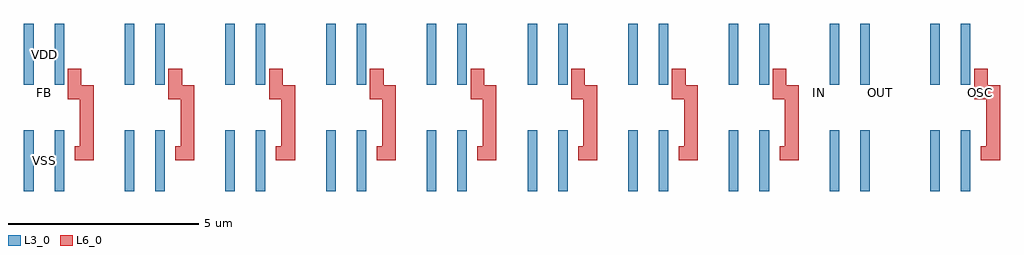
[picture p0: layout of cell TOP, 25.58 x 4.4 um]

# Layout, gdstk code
import gdstk
lib = gdstk.Library(unit=1e-6, precision=1e-09)
NWELL = (1, 0)
L2_0 = (2, 0)
L3_0 = (3, 0)
L4_0 = (4, 0)
L5_0 = (5, 0)
L6_0 = (6, 0)
L7_0 = (7, 0)
L8_0 = (8, 0)

trans = lib.new_cell('TRANS')
trans.add(gdstk.FlexPath([(0.65,-0.475),(-0.65,-0.475)], 0, ends="flush", simple_path=True, layer=2, datatype=0))  # L2_0
trans.add(gdstk.FlexPath([(0.65,0.475),(0.65,-0.475)], 0, ends="flush", simple_path=True, layer=2, datatype=0))  # L2_0
trans.add(gdstk.FlexPath([(-0.65,-0.475),(-0.65,0.475)], 0, ends="flush", simple_path=True, layer=2, datatype=0))  # L2_0
trans.add(gdstk.FlexPath([(-0.65,0.475),(0.65,0.475)], 0, ends="flush", simple_path=True, layer=2, datatype=0))  # L2_0
trans.add(gdstk.FlexPath([(-0.29,-0.31),(-0.51,-0.31)], 0, ends="flush", simple_path=True, layer=4, datatype=0))  # L4_0
trans.add(gdstk.FlexPath([(0.51,-0.31),(0.29,-0.31)], 0, ends="flush", simple_path=True, layer=4, datatype=0))  # L4_0
trans.add(gdstk.FlexPath([(-0.29,0.09),(-0.51,0.09)], 0, ends="flush", simple_path=True, layer=4, datatype=0))  # L4_0
trans.add(gdstk.FlexPath([(0.51,0.09),(0.29,0.09)], 0, ends="flush", simple_path=True, layer=4, datatype=0))  # L4_0
trans.add(gdstk.FlexPath([(-0.29,-0.09),(-0.29,-0.31)], 0, ends="flush", simple_path=True, layer=4, datatype=0))  # L4_0
trans.add(gdstk.FlexPath([(0.51,-0.09),(0.51,-0.31)], 0, ends="flush", simple_path=True, layer=4, datatype=0))  # L4_0
trans.add(gdstk.FlexPath([(-0.29,0.31),(-0.29,0.09)], 0, ends="flush", simple_path=True, layer=4, datatype=0))  # L4_0
trans.add(gdstk.FlexPath([(0.51,0.31),(0.51,0.09)], 0, ends="flush", simple_path=True, layer=4, datatype=0))  # L4_0
trans.add(gdstk.FlexPath([(-0.51,-0.31),(-0.51,-0.09)], 0, ends="flush", simple_path=True, layer=4, datatype=0))  # L4_0
trans.add(gdstk.FlexPath([(0.29,-0.31),(0.29,-0.09)], 0, ends="flush", simple_path=True, layer=4, datatype=0))  # L4_0
trans.add(gdstk.FlexPath([(-0.51,0.09),(-0.51,0.31)], 0, ends="flush", simple_path=True, layer=4, datatype=0))  # L4_0
trans.add(gdstk.FlexPath([(0.29,0.09),(0.29,0.31)], 0, ends="flush", simple_path=True, layer=4, datatype=0))  # L4_0
trans.add(gdstk.FlexPath([(-0.51,-0.09),(-0.29,-0.09)], 0, ends="flush", simple_path=True, layer=4, datatype=0))  # L4_0
trans.add(gdstk.FlexPath([(0.29,-0.09),(0.51,-0.09)], 0, ends="flush", simple_path=True, layer=4, datatype=0))  # L4_0
trans.add(gdstk.FlexPath([(-0.51,0.31),(-0.29,0.31)], 0, ends="flush", simple_path=True, layer=4, datatype=0))  # L4_0
trans.add(gdstk.FlexPath([(0.29,0.31),(0.51,0.31)], 0, ends="flush", simple_path=True, layer=4, datatype=0))  # L4_0
trans.add(gdstk.FlexPath([(-0.22,-0.38),(-0.58,-0.38)], 0, ends="flush", simple_path=True, layer=6, datatype=0))  # L6_0
trans.add(gdstk.FlexPath([(0.58,-0.38),(0.22,-0.38)], 0, ends="flush", simple_path=True, layer=6, datatype=0))  # L6_0
trans.add(gdstk.FlexPath([(-0.22,0.38),(-0.22,-0.38)], 0, ends="flush", simple_path=True, layer=6, datatype=0))  # L6_0
trans.add(gdstk.FlexPath([(0.58,0.38),(0.58,-0.38)], 0, ends="flush", simple_path=True, layer=6, datatype=0))  # L6_0
trans.add(gdstk.FlexPath([(-0.58,-0.38),(-0.58,0.38)], 0, ends="flush", simple_path=True, layer=6, datatype=0))  # L6_0
trans.add(gdstk.FlexPath([(0.22,-0.38),(0.22,0.38)], 0, ends="flush", simple_path=True, layer=6, datatype=0))  # L6_0
trans.add(gdstk.FlexPath([(-0.58,0.38),(-0.22,0.38)], 0, ends="flush", simple_path=True, layer=6, datatype=0))  # L6_0
trans.add(gdstk.FlexPath([(0.22,0.38),(0.58,0.38)], 0, ends="flush", simple_path=True, layer=6, datatype=0))  # L6_0
trans.add(gdstk.FlexPath([(0,-0.8),(0,0.8)], 0.25, ends="flush", simple_path=True, layer=3, datatype=0))  # L3_0

inv2 = lib.new_cell('INV2')
inv2.add(gdstk.FlexPath([(0.58,1.18),(0.58,0.82)], 0, ends="flush", simple_path=True, layer=6, datatype=0))  # L6_0
inv2.add(gdstk.FlexPath([(0.58,0.82),(-0.8,0.82)], 0, ends="flush", simple_path=True, layer=6, datatype=0))  # L6_0
inv2.add(gdstk.FlexPath([(-0.8,1.18),(0.58,1.18)], 0, ends="flush", simple_path=True, layer=6, datatype=0))  # L6_0
inv2.add(gdstk.FlexPath([(-0.98,-0.42),(-0.98,2.42)], 0, ends="flush", simple_path=True, layer=6, datatype=0))  # L6_0
inv2.add(gdstk.FlexPath([(-0.62,-0.42),(-0.98,-0.42)], 0, ends="flush", simple_path=True, layer=6, datatype=0))  # L6_0
inv2.add(gdstk.FlexPath([(0.8,0.2),(1.12,0.2),(1.12,1.8),(0.8,1.8),(0.8,2.42)], 0.36, ends="flush", simple_path=True, layer=6, datatype=0))  # L6_0
inv2.add(gdstk.FlexPath([(-0.98,2.42),(-0.62,2.42)], 0, ends="flush", simple_path=True, layer=6, datatype=0))  # L6_0
inv2.add(gdstk.FlexPath([(-0.62,2.42),(-0.62,-0.42)], 0, ends="flush", simple_path=True, layer=6, datatype=0))  # L6_0
inv2.add(gdstk.FlexPath([(-0.8,0.82),(-0.8,1.18)], 0, ends="flush", simple_path=True, layer=6, datatype=0))  # L6_0
inv2.add(gdstk.FlexPath([(-0.275,-0.25),(-0.525,-0.25)], 0, ends="flush", simple_path=True, layer=3, datatype=0))  # L3_0
inv2.add(gdstk.FlexPath([(0.525,-0.25),(0.275,-0.25)], 0, ends="flush", simple_path=True, layer=3, datatype=0))  # L3_0
inv2.add(gdstk.FlexPath([(-0.275,2.25),(-0.275,-0.25)], 0, ends="flush", simple_path=True, layer=3, datatype=0))  # L3_0
inv2.add(gdstk.FlexPath([(0.525,2.25),(0.525,-0.25)], 0, ends="flush", simple_path=True, layer=3, datatype=0))  # L3_0
inv2.add(gdstk.FlexPath([(-0.525,-0.25),(-0.525,2.25)], 0, ends="flush", simple_path=True, layer=3, datatype=0))  # L3_0
inv2.add(gdstk.FlexPath([(0.275,-0.25),(0.275,2.25)], 0, ends="flush", simple_path=True, layer=3, datatype=0))  # L3_0
inv2.add(gdstk.FlexPath([(0.22,1.18),(0.58,1.18)], 0, ends="flush", simple_path=True, layer=3, datatype=0))  # L3_0
inv2.add(gdstk.FlexPath([(-0.525,2.25),(-0.275,2.25)], 0, ends="flush", simple_path=True, layer=3, datatype=0))  # L3_0
inv2.add(gdstk.FlexPath([(0.275,2.25),(0.525,2.25)], 0, ends="flush", simple_path=True, layer=3, datatype=0))  # L3_0
inv2.add(gdstk.FlexPath([(0.22,0.82),(0.22,1.18)], 0, ends="flush", simple_path=True, layer=3, datatype=0))  # L3_0
inv2.add(gdstk.FlexPath([(-1.7,1.62),(-1.7,1.98)], 0, ends="flush", simple_path=True, layer=3, datatype=0))  # L3_0
inv2.add(gdstk.FlexPath([(0.58,1.18),(0.58,0.82)], 0, ends="flush", simple_path=True, layer=3, datatype=0))  # L3_0
inv2.add(gdstk.FlexPath([(-0.4,1.98),(-0.4,1.62)], 0, ends="flush", simple_path=True, layer=3, datatype=0))  # L3_0
inv2.add(gdstk.FlexPath([(0.58,0.82),(0.22,0.82)], 0, ends="flush", simple_path=True, layer=3, datatype=0))  # L3_0
inv2.add(gdstk.FlexPath([(-1.7,1.98),(-0.4,1.98)], 0, ends="flush", simple_path=True, layer=3, datatype=0))  # L3_0
inv2.add(gdstk.FlexPath([(-0.4,1.62),(-1.7,1.62)], 0, ends="flush", simple_path=True, layer=3, datatype=0))  # L3_0
inv2.add(gdstk.FlexPath([(1.4,-0.45),(-1.4,-0.45)], 0, ends="flush", simple_path=True, layer=8, datatype=0))  # L8_0
inv2.add(gdstk.FlexPath([(1.4,2.35),(-1.4,2.35)], 0, ends="flush", simple_path=True, layer=8, datatype=0))  # L8_0
inv2.add(gdstk.FlexPath([(1.4,0.45),(1.4,-0.45)], 0, ends="flush", simple_path=True, layer=8, datatype=0))  # L8_0
inv2.add(gdstk.FlexPath([(1.4,3.25),(1.4,2.35)], 0, ends="flush", simple_path=True, layer=8, datatype=0))  # L8_0
inv2.add(gdstk.FlexPath([(-1.4,-0.45),(-1.4,0.45)], 0, ends="flush", simple_path=True, layer=8, datatype=0))  # L8_0
inv2.add(gdstk.FlexPath([(-1.4,2.35),(-1.4,3.25)], 0, ends="flush", simple_path=True, layer=8, datatype=0))  # L8_0
inv2.add(gdstk.FlexPath([(-1.4,0.45),(1.4,0.45)], 0, ends="flush", simple_path=True, layer=8, datatype=0))  # L8_0
inv2.add(gdstk.FlexPath([(-1.4,3.25),(1.4,3.25)], 0, ends="flush", simple_path=True, layer=8, datatype=0))  # L8_0
inv2.add(gdstk.FlexPath([(1.4,1.8),(-1.4,1.8)], 0, ends="flush", simple_path=True, layer=1, datatype=0))  # NWELL
inv2.add(gdstk.FlexPath([(1.4,3.8),(1.4,1.8)], 0, ends="flush", simple_path=True, layer=1, datatype=0))  # NWELL
inv2.add(gdstk.FlexPath([(-1.4,1.8),(-1.4,3.8)], 0, ends="flush", simple_path=True, layer=1, datatype=0))  # NWELL
inv2.add(gdstk.FlexPath([(-1.4,3.8),(1.4,3.8)], 0, ends="flush", simple_path=True, layer=1, datatype=0))  # NWELL
inv2.add(gdstk.FlexPath([(0.51,0.89),(0.29,0.89)], 0, ends="flush", simple_path=True, layer=5, datatype=0))  # L5_0
inv2.add(gdstk.FlexPath([(-1.41,1.69),(-1.63,1.69)], 0, ends="flush", simple_path=True, layer=5, datatype=0))  # L5_0
inv2.add(gdstk.FlexPath([(0.51,1.11),(0.51,0.89)], 0, ends="flush", simple_path=True, layer=5, datatype=0))  # L5_0
inv2.add(gdstk.FlexPath([(-1.41,1.91),(-1.41,1.69)], 0, ends="flush", simple_path=True, layer=5, datatype=0))  # L5_0
inv2.add(gdstk.FlexPath([(0.29,0.89),(0.29,1.11)], 0, ends="flush", simple_path=True, layer=5, datatype=0))  # L5_0
inv2.add(gdstk.FlexPath([(-1.63,1.69),(-1.63,1.91)], 0, ends="flush", simple_path=True, layer=5, datatype=0))  # L5_0
inv2.add(gdstk.FlexPath([(0.29,1.11),(0.51,1.11)], 0, ends="flush", simple_path=True, layer=5, datatype=0))  # L5_0
inv2.add(gdstk.FlexPath([(-1.63,1.91),(-1.41,1.91)], 0, ends="flush", simple_path=True, layer=5, datatype=0))  # L5_0
inv2.add(gdstk.FlexPath([(0.125,-0.325),(-0.125,-0.325)], 0, ends="flush", simple_path=True, layer=7, datatype=0))  # L7_0
inv2.add(gdstk.FlexPath([(0.125,0.075),(-0.125,0.075)], 0, ends="flush", simple_path=True, layer=7, datatype=0))  # L7_0
inv2.add(gdstk.FlexPath([(0.125,2.475),(-0.125,2.475)], 0, ends="flush", simple_path=True, layer=7, datatype=0))  # L7_0
inv2.add(gdstk.FlexPath([(0.125,2.875),(-0.125,2.875)], 0, ends="flush", simple_path=True, layer=7, datatype=0))  # L7_0
inv2.add(gdstk.FlexPath([(-0.125,-0.325),(-0.125,-0.075)], 0, ends="flush", simple_path=True, layer=7, datatype=0))  # L7_0
inv2.add(gdstk.FlexPath([(-0.125,0.075),(-0.125,0.325)], 0, ends="flush", simple_path=True, layer=7, datatype=0))  # L7_0
inv2.add(gdstk.FlexPath([(-0.125,2.475),(-0.125,2.725)], 0, ends="flush", simple_path=True, layer=7, datatype=0))  # L7_0
inv2.add(gdstk.FlexPath([(-0.125,2.875),(-0.125,3.125)], 0, ends="flush", simple_path=True, layer=7, datatype=0))  # L7_0
inv2.add(gdstk.FlexPath([(0.125,-0.075),(0.125,-0.325)], 0, ends="flush", simple_path=True, layer=7, datatype=0))  # L7_0
inv2.add(gdstk.FlexPath([(0.125,0.325),(0.125,0.075)], 0, ends="flush", simple_path=True, layer=7, datatype=0))  # L7_0
inv2.add(gdstk.FlexPath([(0.125,2.725),(0.125,2.475)], 0, ends="flush", simple_path=True, layer=7, datatype=0))  # L7_0
inv2.add(gdstk.FlexPath([(0.125,3.125),(0.125,2.875)], 0, ends="flush", simple_path=True, layer=7, datatype=0))  # L7_0
inv2.add(gdstk.FlexPath([(-0.125,-0.075),(0.125,-0.075)], 0, ends="flush", simple_path=True, layer=7, datatype=0))  # L7_0
inv2.add(gdstk.FlexPath([(-0.125,0.325),(0.125,0.325)], 0, ends="flush", simple_path=True, layer=7, datatype=0))  # L7_0
inv2.add(gdstk.FlexPath([(-0.125,2.725),(0.125,2.725)], 0, ends="flush", simple_path=True, layer=7, datatype=0))  # L7_0
inv2.add(gdstk.FlexPath([(-0.125,3.125),(0.125,3.125)], 0, ends="flush", simple_path=True, layer=7, datatype=0))  # L7_0
inv2.add(gdstk.Reference(trans, (0.4,0), x_reflection=True))
inv2.add(gdstk.Reference(trans, (0.4,2.8), x_reflection=True))
inv2.add(gdstk.Reference(trans, (-0.4,0)))
inv2.add(gdstk.Reference(trans, (-0.4,2.8)))
inv2.add(gdstk.Label('IN', (-0.8,1.8), layer=3, texttype=1))
inv2.add(gdstk.Label('OUT', (0.8,1.8), layer=6, texttype=1))

top = lib.new_cell('TOP')
top.add(gdstk.FlexPath([(21.37,-0.475),(20.07,-0.475)], 0, ends="flush", simple_path=True, layer=2, datatype=0))  # L2_0
top.add(gdstk.FlexPath([(22.17,-0.475),(20.87,-0.475)], 0, ends="flush", simple_path=True, layer=2, datatype=0))  # L2_0
top.add(gdstk.FlexPath([(21.37,2.325),(20.07,2.325)], 0, ends="flush", simple_path=True, layer=2, datatype=0))  # L2_0
top.add(gdstk.FlexPath([(22.17,2.325),(20.87,2.325)], 0, ends="flush", simple_path=True, layer=2, datatype=0))  # L2_0
top.add(gdstk.FlexPath([(21.37,0.475),(21.37,-0.475)], 0, ends="flush", simple_path=True, layer=2, datatype=0))  # L2_0
top.add(gdstk.FlexPath([(22.17,0.475),(22.17,-0.475)], 0, ends="flush", simple_path=True, layer=2, datatype=0))  # L2_0
top.add(gdstk.FlexPath([(21.37,3.275),(21.37,2.325)], 0, ends="flush", simple_path=True, layer=2, datatype=0))  # L2_0
top.add(gdstk.FlexPath([(22.17,3.275),(22.17,2.325)], 0, ends="flush", simple_path=True, layer=2, datatype=0))  # L2_0
top.add(gdstk.FlexPath([(20.07,-0.475),(20.07,0.475)], 0, ends="flush", simple_path=True, layer=2, datatype=0))  # L2_0
top.add(gdstk.FlexPath([(20.87,-0.475),(20.87,0.475)], 0, ends="flush", simple_path=True, layer=2, datatype=0))  # L2_0
top.add(gdstk.FlexPath([(20.07,2.325),(20.07,3.275)], 0, ends="flush", simple_path=True, layer=2, datatype=0))  # L2_0
top.add(gdstk.FlexPath([(20.87,2.325),(20.87,3.275)], 0, ends="flush", simple_path=True, layer=2, datatype=0))  # L2_0
top.add(gdstk.FlexPath([(20.07,0.475),(21.37,0.475)], 0, ends="flush", simple_path=True, layer=2, datatype=0))  # L2_0
top.add(gdstk.FlexPath([(20.87,0.475),(22.17,0.475)], 0, ends="flush", simple_path=True, layer=2, datatype=0))  # L2_0
top.add(gdstk.FlexPath([(20.07,3.275),(21.37,3.275)], 0, ends="flush", simple_path=True, layer=2, datatype=0))  # L2_0
top.add(gdstk.FlexPath([(20.87,3.275),(22.17,3.275)], 0, ends="flush", simple_path=True, layer=2, datatype=0))  # L2_0
top.add(gdstk.FlexPath([(20.43,-0.31),(20.21,-0.31)], 0, ends="flush", simple_path=True, layer=4, datatype=0))  # L4_0
top.add(gdstk.FlexPath([(21.23,-0.31),(21.01,-0.31)], 0, ends="flush", simple_path=True, layer=4, datatype=0))  # L4_0
top.add(gdstk.FlexPath([(22.03,-0.31),(21.81,-0.31)], 0, ends="flush", simple_path=True, layer=4, datatype=0))  # L4_0
top.add(gdstk.FlexPath([(20.43,0.09),(20.21,0.09)], 0, ends="flush", simple_path=True, layer=4, datatype=0))  # L4_0
top.add(gdstk.FlexPath([(21.23,0.09),(21.01,0.09)], 0, ends="flush", simple_path=True, layer=4, datatype=0))  # L4_0
top.add(gdstk.FlexPath([(22.03,0.09),(21.81,0.09)], 0, ends="flush", simple_path=True, layer=4, datatype=0))  # L4_0
top.add(gdstk.FlexPath([(20.43,2.49),(20.21,2.49)], 0, ends="flush", simple_path=True, layer=4, datatype=0))  # L4_0
top.add(gdstk.FlexPath([(21.23,2.49),(21.01,2.49)], 0, ends="flush", simple_path=True, layer=4, datatype=0))  # L4_0
top.add(gdstk.FlexPath([(22.03,2.49),(21.81,2.49)], 0, ends="flush", simple_path=True, layer=4, datatype=0))  # L4_0
top.add(gdstk.FlexPath([(20.43,2.89),(20.21,2.89)], 0, ends="flush", simple_path=True, layer=4, datatype=0))  # L4_0
top.add(gdstk.FlexPath([(21.23,2.89),(21.01,2.89)], 0, ends="flush", simple_path=True, layer=4, datatype=0))  # L4_0
top.add(gdstk.FlexPath([(22.03,2.89),(21.81,2.89)], 0, ends="flush", simple_path=True, layer=4, datatype=0))  # L4_0
top.add(gdstk.FlexPath([(21.23,-0.31),(21.01,-0.31)], 0, ends="flush", simple_path=True, layer=4, datatype=0))  # L4_0
top.add(gdstk.FlexPath([(21.23,0.09),(21.01,0.09)], 0, ends="flush", simple_path=True, layer=4, datatype=0))  # L4_0
top.add(gdstk.FlexPath([(21.23,2.49),(21.01,2.49)], 0, ends="flush", simple_path=True, layer=4, datatype=0))  # L4_0
top.add(gdstk.FlexPath([(21.23,2.89),(21.01,2.89)], 0, ends="flush", simple_path=True, layer=4, datatype=0))  # L4_0
top.add(gdstk.FlexPath([(20.43,-0.09),(20.43,-0.31)], 0, ends="flush", simple_path=True, layer=4, datatype=0))  # L4_0
top.add(gdstk.FlexPath([(21.23,-0.09),(21.23,-0.31)], 0, ends="flush", simple_path=True, layer=4, datatype=0))  # L4_0
top.add(gdstk.FlexPath([(22.03,-0.09),(22.03,-0.31)], 0, ends="flush", simple_path=True, layer=4, datatype=0))  # L4_0
top.add(gdstk.FlexPath([(20.43,0.31),(20.43,0.09)], 0, ends="flush", simple_path=True, layer=4, datatype=0))  # L4_0
top.add(gdstk.FlexPath([(21.23,0.31),(21.23,0.09)], 0, ends="flush", simple_path=True, layer=4, datatype=0))  # L4_0
top.add(gdstk.FlexPath([(22.03,0.31),(22.03,0.09)], 0, ends="flush", simple_path=True, layer=4, datatype=0))  # L4_0
top.add(gdstk.FlexPath([(20.43,2.71),(20.43,2.49)], 0, ends="flush", simple_path=True, layer=4, datatype=0))  # L4_0
top.add(gdstk.FlexPath([(21.23,2.71),(21.23,2.49)], 0, ends="flush", simple_path=True, layer=4, datatype=0))  # L4_0
top.add(gdstk.FlexPath([(22.03,2.71),(22.03,2.49)], 0, ends="flush", simple_path=True, layer=4, datatype=0))  # L4_0
top.add(gdstk.FlexPath([(20.43,3.11),(20.43,2.89)], 0, ends="flush", simple_path=True, layer=4, datatype=0))  # L4_0
top.add(gdstk.FlexPath([(21.23,3.11),(21.23,2.89)], 0, ends="flush", simple_path=True, layer=4, datatype=0))  # L4_0
top.add(gdstk.FlexPath([(22.03,3.11),(22.03,2.89)], 0, ends="flush", simple_path=True, layer=4, datatype=0))  # L4_0
top.add(gdstk.FlexPath([(21.23,-0.09),(21.23,-0.31)], 0, ends="flush", simple_path=True, layer=4, datatype=0))  # L4_0
top.add(gdstk.FlexPath([(21.23,0.31),(21.23,0.09)], 0, ends="flush", simple_path=True, layer=4, datatype=0))  # L4_0
top.add(gdstk.FlexPath([(21.23,2.71),(21.23,2.49)], 0, ends="flush", simple_path=True, layer=4, datatype=0))  # L4_0
top.add(gdstk.FlexPath([(21.23,3.11),(21.23,2.89)], 0, ends="flush", simple_path=True, layer=4, datatype=0))  # L4_0
top.add(gdstk.FlexPath([(20.21,-0.31),(20.21,-0.09)], 0, ends="flush", simple_path=True, layer=4, datatype=0))  # L4_0
top.add(gdstk.FlexPath([(21.01,-0.31),(21.01,-0.09)], 0, ends="flush", simple_path=True, layer=4, datatype=0))  # L4_0
top.add(gdstk.FlexPath([(21.81,-0.31),(21.81,-0.09)], 0, ends="flush", simple_path=True, layer=4, datatype=0))  # L4_0
top.add(gdstk.FlexPath([(20.21,0.09),(20.21,0.31)], 0, ends="flush", simple_path=True, layer=4, datatype=0))  # L4_0
top.add(gdstk.FlexPath([(21.01,0.09),(21.01,0.31)], 0, ends="flush", simple_path=True, layer=4, datatype=0))  # L4_0
top.add(gdstk.FlexPath([(21.81,0.09),(21.81,0.31)], 0, ends="flush", simple_path=True, layer=4, datatype=0))  # L4_0
top.add(gdstk.FlexPath([(20.21,2.49),(20.21,2.71)], 0, ends="flush", simple_path=True, layer=4, datatype=0))  # L4_0
top.add(gdstk.FlexPath([(21.01,2.49),(21.01,2.71)], 0, ends="flush", simple_path=True, layer=4, datatype=0))  # L4_0
top.add(gdstk.FlexPath([(21.81,2.49),(21.81,2.71)], 0, ends="flush", simple_path=True, layer=4, datatype=0))  # L4_0
top.add(gdstk.FlexPath([(20.21,2.89),(20.21,3.11)], 0, ends="flush", simple_path=True, layer=4, datatype=0))  # L4_0
top.add(gdstk.FlexPath([(21.01,2.89),(21.01,3.11)], 0, ends="flush", simple_path=True, layer=4, datatype=0))  # L4_0
top.add(gdstk.FlexPath([(21.81,2.89),(21.81,3.11)], 0, ends="flush", simple_path=True, layer=4, datatype=0))  # L4_0
top.add(gdstk.FlexPath([(21.01,-0.31),(21.01,-0.09)], 0, ends="flush", simple_path=True, layer=4, datatype=0))  # L4_0
top.add(gdstk.FlexPath([(21.01,0.09),(21.01,0.31)], 0, ends="flush", simple_path=True, layer=4, datatype=0))  # L4_0
top.add(gdstk.FlexPath([(21.01,2.49),(21.01,2.71)], 0, ends="flush", simple_path=True, layer=4, datatype=0))  # L4_0
top.add(gdstk.FlexPath([(21.01,2.89),(21.01,3.11)], 0, ends="flush", simple_path=True, layer=4, datatype=0))  # L4_0
top.add(gdstk.FlexPath([(20.21,-0.09),(20.43,-0.09)], 0, ends="flush", simple_path=True, layer=4, datatype=0))  # L4_0
top.add(gdstk.FlexPath([(21.01,-0.09),(21.23,-0.09)], 0, ends="flush", simple_path=True, layer=4, datatype=0))  # L4_0
top.add(gdstk.FlexPath([(21.81,-0.09),(22.03,-0.09)], 0, ends="flush", simple_path=True, layer=4, datatype=0))  # L4_0
top.add(gdstk.FlexPath([(20.21,0.31),(20.43,0.31)], 0, ends="flush", simple_path=True, layer=4, datatype=0))  # L4_0
top.add(gdstk.FlexPath([(21.01,0.31),(21.23,0.31)], 0, ends="flush", simple_path=True, layer=4, datatype=0))  # L4_0
top.add(gdstk.FlexPath([(21.81,0.31),(22.03,0.31)], 0, ends="flush", simple_path=True, layer=4, datatype=0))  # L4_0
top.add(gdstk.FlexPath([(20.21,2.71),(20.43,2.71)], 0, ends="flush", simple_path=True, layer=4, datatype=0))  # L4_0
top.add(gdstk.FlexPath([(21.01,2.71),(21.23,2.71)], 0, ends="flush", simple_path=True, layer=4, datatype=0))  # L4_0
top.add(gdstk.FlexPath([(21.81,2.71),(22.03,2.71)], 0, ends="flush", simple_path=True, layer=4, datatype=0))  # L4_0
top.add(gdstk.FlexPath([(20.21,3.11),(20.43,3.11)], 0, ends="flush", simple_path=True, layer=4, datatype=0))  # L4_0
top.add(gdstk.FlexPath([(21.01,3.11),(21.23,3.11)], 0, ends="flush", simple_path=True, layer=4, datatype=0))  # L4_0
top.add(gdstk.FlexPath([(21.81,3.11),(22.03,3.11)], 0, ends="flush", simple_path=True, layer=4, datatype=0))  # L4_0
top.add(gdstk.FlexPath([(21.01,-0.09),(21.23,-0.09)], 0, ends="flush", simple_path=True, layer=4, datatype=0))  # L4_0
top.add(gdstk.FlexPath([(21.01,0.31),(21.23,0.31)], 0, ends="flush", simple_path=True, layer=4, datatype=0))  # L4_0
top.add(gdstk.FlexPath([(21.01,2.71),(21.23,2.71)], 0, ends="flush", simple_path=True, layer=4, datatype=0))  # L4_0
top.add(gdstk.FlexPath([(21.01,3.11),(21.23,3.11)], 0, ends="flush", simple_path=True, layer=4, datatype=0))  # L4_0
top.add(gdstk.FlexPath([(20.14,0.38),(20.5,0.38)], 0, ends="flush", simple_path=True, layer=6, datatype=0))  # L6_0
top.add(gdstk.FlexPath([(20.94,0.38),(21.3,0.38)], 0, ends="flush", simple_path=True, layer=6, datatype=0))  # L6_0
top.add(gdstk.FlexPath([(21.74,0.38),(22.1,0.38)], 0, ends="flush", simple_path=True, layer=6, datatype=0))  # L6_0
top.add(gdstk.FlexPath([(-1.7,1.98),(-1.34,1.98)], 0, ends="flush", simple_path=True, layer=6, datatype=0))  # L6_0
top.add(gdstk.FlexPath([(20.14,2.42),(20.5,2.42)], 0, ends="flush", simple_path=True, layer=6, datatype=0))  # L6_0
top.add(gdstk.FlexPath([(21.74,2.42),(22.1,2.42)], 0, ends="flush", simple_path=True, layer=6, datatype=0))  # L6_0
top.add(gdstk.FlexPath([(20.14,3.18),(20.5,3.18)], 0, ends="flush", simple_path=True, layer=6, datatype=0))  # L6_0
top.add(gdstk.FlexPath([(20.94,3.18),(21.3,3.18)], 0, ends="flush", simple_path=True, layer=6, datatype=0))  # L6_0
top.add(gdstk.FlexPath([(21.74,3.18),(22.1,3.18)], 0, ends="flush", simple_path=True, layer=6, datatype=0))  # L6_0
top.add(gdstk.FlexPath([(22.06,1.62),(21.74,1.62)], 0, ends="flush", simple_path=True, layer=6, datatype=0))  # L6_0
top.add(gdstk.FlexPath([(20.32,1.18),(21.7,1.18)], 0, ends="flush", simple_path=True, layer=6, datatype=0))  # L6_0
top.add(gdstk.FlexPath([(21.74,1.62),(21.74,2.42)], 0, ends="flush", simple_path=True, layer=6, datatype=0))  # L6_0
top.add(gdstk.FlexPath([(21.92,0.02),(21.92,0.38)], 0, ends="flush", simple_path=True, layer=6, datatype=0))  # L6_0
top.add(gdstk.FlexPath([(20.32,0.82),(20.32,1.18)], 0, ends="flush", simple_path=True, layer=6, datatype=0))  # L6_0
top.add(gdstk.FlexPath([(-1.7,1.62),(-1.7,1.98)], 0, ends="flush", simple_path=True, layer=6, datatype=0))  # L6_0
top.add(gdstk.FlexPath([(22.1,2.42),(22.1,1.98)], 0, ends="flush", simple_path=True, layer=6, datatype=0))  # L6_0
top.add(gdstk.FlexPath([(22.06,0.38),(22.06,1.62)], 0, ends="flush", simple_path=True, layer=6, datatype=0))  # L6_0
top.add(gdstk.FlexPath([(20.14,-0.42),(20.14,2.42)], 0, ends="flush", simple_path=True, layer=6, datatype=0))  # L6_0
top.add(gdstk.FlexPath([(21.92,0.38),(22.06,0.38)], 0, ends="flush", simple_path=True, layer=6, datatype=0))  # L6_0
top.add(gdstk.FlexPath([(21.7,0.82),(20.32,0.82)], 0, ends="flush", simple_path=True, layer=6, datatype=0))  # L6_0
top.add(gdstk.FlexPath([(22.1,1.98),(22.42,1.98)], 0, ends="flush", simple_path=True, layer=6, datatype=0))  # L6_0
top.add(gdstk.FlexPath([(20.5,0.38),(20.5,-0.38)], 0, ends="flush", simple_path=True, layer=6, datatype=0))  # L6_0
top.add(gdstk.FlexPath([(21.3,0.38),(21.3,-0.38)], 0, ends="flush", simple_path=True, layer=6, datatype=0))  # L6_0
top.add(gdstk.FlexPath([(22.1,0.38),(22.1,-0.38)], 0, ends="flush", simple_path=True, layer=6, datatype=0))  # L6_0
top.add(gdstk.FlexPath([(20.5,3.18),(20.5,2.42)], 0, ends="flush", simple_path=True, layer=6, datatype=0))  # L6_0
top.add(gdstk.FlexPath([(21.3,3.18),(21.3,2.42)], 0, ends="flush", simple_path=True, layer=6, datatype=0))  # L6_0
top.add(gdstk.FlexPath([(22.1,3.18),(22.1,2.42)], 0, ends="flush", simple_path=True, layer=6, datatype=0))  # L6_0
top.add(gdstk.FlexPath([(22.42,1.98),(22.42,0.02)], 0, ends="flush", simple_path=True, layer=6, datatype=0))  # L6_0
top.add(gdstk.FlexPath([(22.42,0.02),(21.92,0.02)], 0, ends="flush", simple_path=True, layer=6, datatype=0))  # L6_0
top.add(gdstk.FlexPath([(20.14,-0.38),(20.14,0.38)], 0, ends="flush", simple_path=True, layer=6, datatype=0))  # L6_0
top.add(gdstk.FlexPath([(20.94,-0.38),(20.94,0.38)], 0, ends="flush", simple_path=True, layer=6, datatype=0))  # L6_0
top.add(gdstk.FlexPath([(21.74,-0.38),(21.74,0.38)], 0, ends="flush", simple_path=True, layer=6, datatype=0))  # L6_0
top.add(gdstk.FlexPath([(20.14,2.42),(20.14,3.18)], 0, ends="flush", simple_path=True, layer=6, datatype=0))  # L6_0
top.add(gdstk.FlexPath([(20.94,2.42),(20.94,3.18)], 0, ends="flush", simple_path=True, layer=6, datatype=0))  # L6_0
top.add(gdstk.FlexPath([(21.74,2.42),(21.74,3.18)], 0, ends="flush", simple_path=True, layer=6, datatype=0))  # L6_0
top.add(gdstk.FlexPath([(20.5,-0.42),(20.14,-0.42)], 0, ends="flush", simple_path=True, layer=6, datatype=0))  # L6_0
top.add(gdstk.FlexPath([(20.5,-0.38),(20.14,-0.38)], 0, ends="flush", simple_path=True, layer=6, datatype=0))  # L6_0
top.add(gdstk.FlexPath([(21.3,-0.38),(20.94,-0.38)], 0, ends="flush", simple_path=True, layer=6, datatype=0))  # L6_0
top.add(gdstk.FlexPath([(22.1,-0.38),(21.74,-0.38)], 0, ends="flush", simple_path=True, layer=6, datatype=0))  # L6_0
top.add(gdstk.FlexPath([(-1.34,1.62),(-1.7,1.62)], 0, ends="flush", simple_path=True, layer=6, datatype=0))  # L6_0
top.add(gdstk.FlexPath([(20.5,2.42),(20.14,2.42)], 0, ends="flush", simple_path=True, layer=6, datatype=0))  # L6_0
top.add(gdstk.FlexPath([(21.3,2.42),(20.94,2.42)], 0, ends="flush", simple_path=True, layer=6, datatype=0))  # L6_0
top.add(gdstk.FlexPath([(22.1,2.42),(21.74,2.42)], 0, ends="flush", simple_path=True, layer=6, datatype=0))  # L6_0
top.add(gdstk.FlexPath([(20.5,2.42),(20.5,-0.42)], 0, ends="flush", simple_path=True, layer=6, datatype=0))  # L6_0
top.add(gdstk.FlexPath([(21.7,1.18),(21.7,0.82)], 0, ends="flush", simple_path=True, layer=6, datatype=0))  # L6_0
top.add(gdstk.FlexPath([(-1.34,1.98),(-1.34,1.62)], 0, ends="flush", simple_path=True, layer=6, datatype=0))  # L6_0
top.add(gdstk.FlexPath([(20.845,2.25),(20.845,-0.25)], 0, ends="flush", simple_path=True, layer=3, datatype=0))  # L3_0
top.add(gdstk.FlexPath([(21.645,2.25),(21.645,-0.25)], 0, ends="flush", simple_path=True, layer=3, datatype=0))  # L3_0
top.add(gdstk.FlexPath([(20.595,-0.25),(20.595,2.25)], 0, ends="flush", simple_path=True, layer=3, datatype=0))  # L3_0
top.add(gdstk.FlexPath([(21.395,-0.25),(21.395,2.25)], 0, ends="flush", simple_path=True, layer=3, datatype=0))  # L3_0
top.add(gdstk.FlexPath([(20.72,1.62),(19.42,1.62)], 0, ends="flush", simple_path=True, layer=3, datatype=0))  # L3_0
top.add(gdstk.FlexPath([(19.42,1.98),(20.72,1.98)], 0, ends="flush", simple_path=True, layer=3, datatype=0))  # L3_0
top.add(gdstk.FlexPath([(20.845,-0.25),(20.595,-0.25)], 0, ends="flush", simple_path=True, layer=3, datatype=0))  # L3_0
top.add(gdstk.FlexPath([(21.645,-0.25),(21.395,-0.25)], 0, ends="flush", simple_path=True, layer=3, datatype=0))  # L3_0
top.add(gdstk.FlexPath([(21.52,0.8),(21.52,-0.8)], 0.25, ends="flush", simple_path=True, layer=3, datatype=0))  # L3_0
top.add(gdstk.FlexPath([(21.52,3.6),(21.52,2)], 0.25, ends="flush", simple_path=True, layer=3, datatype=0))  # L3_0
top.add(gdstk.FlexPath([(21.34,1.18),(21.7,1.18)], 0, ends="flush", simple_path=True, layer=3, datatype=0))  # L3_0
top.add(gdstk.FlexPath([(20.595,2.25),(20.845,2.25)], 0, ends="flush", simple_path=True, layer=3, datatype=0))  # L3_0
top.add(gdstk.FlexPath([(21.395,2.25),(21.645,2.25)], 0, ends="flush", simple_path=True, layer=3, datatype=0))  # L3_0
top.add(gdstk.FlexPath([(21.34,0.82),(21.34,1.18)], 0, ends="flush", simple_path=True, layer=3, datatype=0))  # L3_0
top.add(gdstk.FlexPath([(19.42,1.62),(19.42,1.98)], 0, ends="flush", simple_path=True, layer=3, datatype=0))  # L3_0
top.add(gdstk.FlexPath([(21.7,1.18),(21.7,0.82)], 0, ends="flush", simple_path=True, layer=3, datatype=0))  # L3_0
top.add(gdstk.FlexPath([(20.72,1.98),(20.72,1.62)], 0, ends="flush", simple_path=True, layer=3, datatype=0))  # L3_0
top.add(gdstk.FlexPath([(20.72,-0.8),(20.72,0.8)], 0.25, ends="flush", simple_path=True, layer=3, datatype=0))  # L3_0
top.add(gdstk.FlexPath([(20.72,2),(20.72,3.6)], 0.25, ends="flush", simple_path=True, layer=3, datatype=0))  # L3_0
top.add(gdstk.FlexPath([(21.7,0.82),(21.34,0.82)], 0, ends="flush", simple_path=True, layer=3, datatype=0))  # L3_0
top.add(gdstk.FlexPath([(-1.72,2),(23.16,2)], 0, ends="flush", simple_path=True, layer=8, datatype=0))  # L8_0
top.add(gdstk.FlexPath([(23.16,1.6),(-1.72,1.6)], 0, ends="flush", simple_path=True, layer=8, datatype=0))  # L8_0
top.add(gdstk.FlexPath([(19.72,0.45),(22.52,0.45)], 0, ends="flush", simple_path=True, layer=8, datatype=0))  # L8_0
top.add(gdstk.FlexPath([(19.72,3.25),(22.52,3.25)], 0, ends="flush", simple_path=True, layer=8, datatype=0))  # L8_0
top.add(gdstk.FlexPath([(24.76,1.6),(24.36,1.6)], 0, ends="flush", simple_path=True, layer=8, datatype=0))  # L8_0
top.add(gdstk.FlexPath([(22.52,0.45),(22.52,-0.45)], 0, ends="flush", simple_path=True, layer=8, datatype=0))  # L8_0
top.add(gdstk.FlexPath([(22.52,3.25),(22.52,2.35)], 0, ends="flush", simple_path=True, layer=8, datatype=0))  # L8_0
top.add(gdstk.FlexPath([(22.52,-0.45),(19.72,-0.45)], 0, ends="flush", simple_path=True, layer=8, datatype=0))  # L8_0
top.add(gdstk.FlexPath([(22.52,2.35),(19.72,2.35)], 0, ends="flush", simple_path=True, layer=8, datatype=0))  # L8_0
top.add(gdstk.FlexPath([(23.16,2),(23.16,1.6)], 0, ends="flush", simple_path=True, layer=8, datatype=0))  # L8_0
top.add(gdstk.FlexPath([(24.76,2),(24.76,1.6)], 0, ends="flush", simple_path=True, layer=8, datatype=0))  # L8_0
top.add(gdstk.FlexPath([(-1.72,1.6),(-1.72,2)], 0, ends="flush", simple_path=True, layer=8, datatype=0))  # L8_0
top.add(gdstk.FlexPath([(24.36,1.6),(24.36,2)], 0, ends="flush", simple_path=True, layer=8, datatype=0))  # L8_0
top.add(gdstk.FlexPath([(19.72,-0.45),(19.72,0.45)], 0, ends="flush", simple_path=True, layer=8, datatype=0))  # L8_0
top.add(gdstk.FlexPath([(19.72,2.35),(19.72,3.25)], 0, ends="flush", simple_path=True, layer=8, datatype=0))  # L8_0
top.add(gdstk.FlexPath([(24.36,2),(24.76,2)], 0, ends="flush", simple_path=True, layer=8, datatype=0))  # L8_0
top.add(gdstk.FlexPath([(22.52,1.8),(19.72,1.8)], 0, ends="flush", simple_path=True, layer=1, datatype=0))  # NWELL
top.add(gdstk.FlexPath([(22.52,3.8),(22.52,1.8)], 0, ends="flush", simple_path=True, layer=1, datatype=0))  # NWELL
top.add(gdstk.FlexPath([(19.72,1.8),(19.72,3.8)], 0, ends="flush", simple_path=True, layer=1, datatype=0))  # NWELL
top.add(gdstk.FlexPath([(19.72,3.8),(22.52,3.8)], 0, ends="flush", simple_path=True, layer=1, datatype=0))  # NWELL
top.add(gdstk.FlexPath([(21.63,0.89),(21.41,0.89)], 0, ends="flush", simple_path=True, layer=5, datatype=0))  # L5_0
top.add(gdstk.FlexPath([(19.71,1.69),(19.49,1.69)], 0, ends="flush", simple_path=True, layer=5, datatype=0))  # L5_0
top.add(gdstk.FlexPath([(21.63,1.11),(21.63,0.89)], 0, ends="flush", simple_path=True, layer=5, datatype=0))  # L5_0
top.add(gdstk.FlexPath([(19.71,1.91),(19.71,1.69)], 0, ends="flush", simple_path=True, layer=5, datatype=0))  # L5_0
top.add(gdstk.FlexPath([(21.41,0.89),(21.41,1.11)], 0, ends="flush", simple_path=True, layer=5, datatype=0))  # L5_0
top.add(gdstk.FlexPath([(19.49,1.69),(19.49,1.91)], 0, ends="flush", simple_path=True, layer=5, datatype=0))  # L5_0
top.add(gdstk.FlexPath([(21.41,1.11),(21.63,1.11)], 0, ends="flush", simple_path=True, layer=5, datatype=0))  # L5_0
top.add(gdstk.FlexPath([(19.49,1.91),(19.71,1.91)], 0, ends="flush", simple_path=True, layer=5, datatype=0))  # L5_0
top.add(gdstk.FlexPath([(21.245,-0.325),(20.995,-0.325)], 0, ends="flush", simple_path=True, layer=7, datatype=0))  # L7_0
top.add(gdstk.FlexPath([(21.245,0.075),(20.995,0.075)], 0, ends="flush", simple_path=True, layer=7, datatype=0))  # L7_0
top.add(gdstk.FlexPath([(-1.395,1.675),(-1.645,1.675)], 0, ends="flush", simple_path=True, layer=7, datatype=0))  # L7_0
top.add(gdstk.FlexPath([(23.085,1.675),(22.835,1.675)], 0, ends="flush", simple_path=True, layer=7, datatype=0))  # L7_0
top.add(gdstk.FlexPath([(24.685,1.675),(24.435,1.675)], 0, ends="flush", simple_path=True, layer=7, datatype=0))  # L7_0
top.add(gdstk.FlexPath([(21.245,2.475),(20.995,2.475)], 0, ends="flush", simple_path=True, layer=7, datatype=0))  # L7_0
top.add(gdstk.FlexPath([(21.245,2.875),(20.995,2.875)], 0, ends="flush", simple_path=True, layer=7, datatype=0))  # L7_0
top.add(gdstk.FlexPath([(20.995,-0.325),(20.995,-0.075)], 0, ends="flush", simple_path=True, layer=7, datatype=0))  # L7_0
top.add(gdstk.FlexPath([(20.995,0.075),(20.995,0.325)], 0, ends="flush", simple_path=True, layer=7, datatype=0))  # L7_0
top.add(gdstk.FlexPath([(-1.645,1.675),(-1.645,1.925)], 0, ends="flush", simple_path=True, layer=7, datatype=0))  # L7_0
top.add(gdstk.FlexPath([(22.835,1.675),(22.835,1.925)], 0, ends="flush", simple_path=True, layer=7, datatype=0))  # L7_0
top.add(gdstk.FlexPath([(24.435,1.675),(24.435,1.925)], 0, ends="flush", simple_path=True, layer=7, datatype=0))  # L7_0
top.add(gdstk.FlexPath([(20.995,2.475),(20.995,2.725)], 0, ends="flush", simple_path=True, layer=7, datatype=0))  # L7_0
top.add(gdstk.FlexPath([(20.995,2.875),(20.995,3.125)], 0, ends="flush", simple_path=True, layer=7, datatype=0))  # L7_0
top.add(gdstk.FlexPath([(21.245,-0.075),(21.245,-0.325)], 0, ends="flush", simple_path=True, layer=7, datatype=0))  # L7_0
top.add(gdstk.FlexPath([(21.245,0.325),(21.245,0.075)], 0, ends="flush", simple_path=True, layer=7, datatype=0))  # L7_0
top.add(gdstk.FlexPath([(-1.395,1.925),(-1.395,1.675)], 0, ends="flush", simple_path=True, layer=7, datatype=0))  # L7_0
top.add(gdstk.FlexPath([(23.085,1.925),(23.085,1.675)], 0, ends="flush", simple_path=True, layer=7, datatype=0))  # L7_0
top.add(gdstk.FlexPath([(24.685,1.925),(24.685,1.675)], 0, ends="flush", simple_path=True, layer=7, datatype=0))  # L7_0
top.add(gdstk.FlexPath([(21.245,2.725),(21.245,2.475)], 0, ends="flush", simple_path=True, layer=7, datatype=0))  # L7_0
top.add(gdstk.FlexPath([(21.245,3.125),(21.245,2.875)], 0, ends="flush", simple_path=True, layer=7, datatype=0))  # L7_0
top.add(gdstk.FlexPath([(20.995,-0.075),(21.245,-0.075)], 0, ends="flush", simple_path=True, layer=7, datatype=0))  # L7_0
top.add(gdstk.FlexPath([(20.995,0.325),(21.245,0.325)], 0, ends="flush", simple_path=True, layer=7, datatype=0))  # L7_0
top.add(gdstk.FlexPath([(-1.645,1.925),(-1.395,1.925)], 0, ends="flush", simple_path=True, layer=7, datatype=0))  # L7_0
top.add(gdstk.FlexPath([(22.835,1.925),(23.085,1.925)], 0, ends="flush", simple_path=True, layer=7, datatype=0))  # L7_0
top.add(gdstk.FlexPath([(24.435,1.925),(24.685,1.925)], 0, ends="flush", simple_path=True, layer=7, datatype=0))  # L7_0
top.add(gdstk.FlexPath([(20.995,2.725),(21.245,2.725)], 0, ends="flush", simple_path=True, layer=7, datatype=0))  # L7_0
top.add(gdstk.FlexPath([(20.995,3.125),(21.245,3.125)], 0, ends="flush", simple_path=True, layer=7, datatype=0))  # L7_0
top.add(gdstk.Reference(inv2, (0,0)))
top.add(gdstk.Reference(inv2, (2.64,0)))
top.add(gdstk.Reference(inv2, (5.28,0)))
top.add(gdstk.Reference(inv2, (7.92,0)))
top.add(gdstk.Reference(inv2, (10.56,0)))
top.add(gdstk.Reference(inv2, (13.2,0)))
top.add(gdstk.Reference(inv2, (15.84,0)))
top.add(gdstk.Reference(inv2, (18.48,0)))
top.add(gdstk.Reference(inv2, (23.76,0)))
top.add(gdstk.Label('IN', (20.32,1.8), layer=3, texttype=1))
top.add(gdstk.Label('OUT', (21.92,1.8), layer=6, texttype=1))
top.add(gdstk.Label('VSS', (0,0), layer=8, texttype=1))
top.add(gdstk.Label('VDD', (0,2.8), layer=8, texttype=1))
top.add(gdstk.Label('FB', (0,1.8), layer=8, texttype=1))
top.add(gdstk.Label('OSC', (24.56,1.8), layer=8, texttype=1))

lib.write_gds('TOP.gds')
